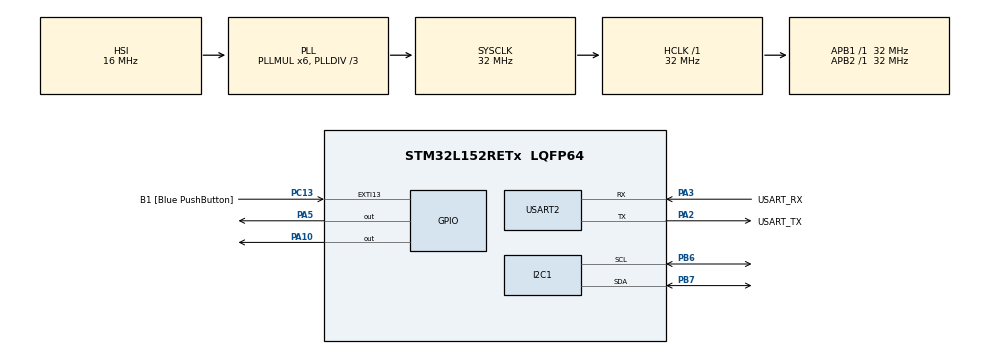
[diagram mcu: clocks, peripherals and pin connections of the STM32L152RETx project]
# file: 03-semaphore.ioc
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Mcu.Family=STM32L1
RCC.MSI_VALUE=2097000
PC15-OSC32_OUT.Mode=LSE-External-Oscillator
PH0-OSC_IN.Signal=RCC_OSC_IN
PA14.GPIO_Label=TCK
PC14-OSC32_IN.Signal=RCC_OSC32_IN
RCC.SYSCLKSource=RCC_SYSCLKSOURCE_PLLCLK
ProjectManager.StackSize=0x400
PA13.Signal=SYS_JTMS-SWDIO
PA3.Mode=Asynchronous
RCC.PLLDIV=RCC_PLL_DIV3
ProjectManager.TargetToolchain=Other Toolchains (GPDSC)
PA10.PinState=GPIO_PIN_SET
RCC.HCLKFreq_Value=32000000
PC13-WKUP2.GPIO_Label=B1 [Blue PushButton]
RCC.APB2TimFreq_Value=32000000
PB6.Signal=I2C1_SCL
PB6.Mode=I2C
PC15-OSC32_OUT.Signal=RCC_OSC32_OUT
RCC.AHBFreq_Value=32000000
PH0-OSC_IN.Mode=HSE-External-Clock-Source
PA5.Signal=GPIO_Output
RCC.HSE_VALUE=8000000
PC13-WKUP2.Signal=GPXTI13
board=NUCLEO-L152RE
RCC.VCOOutputFreq_Value=96000000
RCC.PLLMUL=RCC_PLL_MUL6
RCC.APB2Freq_Value=32000000
PC14-OSC32_IN.Mode=LSE-External-Oscillator
RCC.RTCClockSelectionVirtual=RCC_RTCCLKSOURCE_LSE
PA14.Mode=Serial_Wire
PH1-OSC_OUT.Signal=RCC_OSC_OUT
PB7.Signal=I2C1_SDA
PA13.Mode=Serial_Wire
Mcu.Name=STM32L152RETx
PA2.Signal=USART2_TX
PA13.GPIO_Label=TMS
RCC.48MHZClocksFreq_Value=48000000
PB3.Signal=SYS_JTDO-TRACESWO
RCC.SYSCLKFreq_VALUE=32000000
Mcu.Package=LQFP64
USART2.VirtualMode=VM_ASYNC
RCC.USBOutput=48000000
PA2.GPIO_Label=USART_TX
PB7.Mode=I2C
PA10.Signal=GPIO_Output
PA14.Signal=SYS_JTCK-SWCLK
ProjectManager.HeapSize=0x200
RCC.HSI_VALUE=16000000
NVIC.PriorityGroup=NVIC_PRIORITYGROUP_0
RCC.APB1TimFreq_Value=32000000
PA2.Mode=Asynchronous
RCC.APB1Freq_Value=32000000
PA3.GPIO_Label=USART_RX
PA3.Signal=USART2_RX
PB3.GPIO_Label=SWO

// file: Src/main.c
/* USER CODE BEGIN Header */
/**
  ******************************************************************************
  * @file           : main.c
  * @brief          : Main program body
  ******************************************************************************
  * @attention
  *
  * <h2><center>&copy; Copyright (c) 2021 STMicroelectronics.
  * All rights reserved.</center></h2>
  *
  * This software component is licensed by ST under BSD 3-Clause license,
  * the "License"; You may not use this file except in compliance with the
  * License. You may obtain a copy of the License at:
  *                        opensource.org/licenses/BSD-3-Clause
  *
  ******************************************************************************
  */
/* USER CODE END Header */
#include "main.h"

/* USER CODE BEGIN PD */
/* Task Stack Size */
#define APP_TASK_START_STK_SIZE 128u
#define READ_DATA_TASK_STK_SIZE 128u
#define DISPLAY_DATA_TASK_STK_SIZE 256u
#define BLINK_TASK_STK_SIZE 128u
/* Task Priority */
#define APP_TASK_START_PRIO 1u
#define READ_DATA_TASK_PRIO 2u
#define DISPLAY_DATA_TASK_PRIO 3u
#define BLINK_TASK_PRIO 4u
/* USER CODE END PD */

/* USER CODE BEGIN PV */
/* Task Control Block */
static OS_TCB AppTaskStartTCB;
static OS_TCB ReadDataTaskTCB;
static OS_TCB DisplayDataTaskTCB;
static OS_TCB BlinkTaskTCB;
/* Task Stack */
static CPU_STK AppTaskStartStk[APP_TASK_START_STK_SIZE];
static CPU_STK ReadDataTaskStk[READ_DATA_TASK_STK_SIZE];
static CPU_STK DisplayDataTaskStk[DISPLAY_DATA_TASK_STK_SIZE];
static CPU_STK BlinkTaskStk[BLINK_TASK_STK_SIZE];
/* Semaphore */
OS_SEM sem;

/* USER CODE END PV */

void SystemClock_Config(void);
/* USER CODE BEGIN PFP */
static void AppTaskStart(void *p_arg);
static void ReadDataTask(void *p_arg);
static void DisplayDataTask(void *p_arg);
static void BlinkTask(void *p_arg);
/* USER CODE END PFP */

/* USER CODE BEGIN 0 */
int main(void)
{
  /* To store error code */
  OS_ERR os_err;

  /* Initialize uC/OS-III */
  OSInit(&os_err);

  if (os_err != OS_ERR_NONE)
  {
    while (DEF_TRUE)
      ;
  }

  OSSemCreate(
      (OS_SEM *)&sem,
      (CPU_CHAR *)"Semaphore",
      (OS_SEM_CTR)0,
      (OS_ERR *)&os_err);

  OSTaskCreate(
      /* pointer to task control block */
      (OS_TCB *)&AppTaskStartTCB,
      /* task name can be displayed by debuggers */
      (CPU_CHAR *)"App Task Start",
      /* pointer to the task */
      (OS_TASK_PTR)AppTaskStart,
      /* pointer to an OPTIONAL data area */
      (void *)0,
      /* task priority: the lower the number, the higher the priority */
      (OS_PRIO)APP_TASK_START_PRIO,
      /* pointer to task's stack base addr */
      (CPU_STK *)&AppTaskStartStk[0],
      /* task's stack limit to monitor and ensure that the stack
       * doesn't overflow (10%) */
      (CPU_STK_SIZE)APP_TASK_START_STK_SIZE / 10,
      /* task's stack size */
      (CPU_STK_SIZE)APP_TASK_START_STK_SIZE,
      /* max number of message that the task can receive through
       * internal message queue (5) */
      (OS_MSG_QTY)5u,
      /* amount of clock ticks for the time quanta
       * when round robin is enabled */
      (OS_TICK)0u,
      /* pointer to an OPTIONAL user-supplied memory location
       * use as a TCB extension */
      (void *)0,
      /* contain task-specific option
       * OS_OPT_TASK_STK_CHK: allow stack checking
       * OS_OPT_TASK_STK_CLR: stack needs to be cleared */
      (OS_OPT)(OS_OPT_TASK_STK_CHK | OS_OPT_TASK_STK_CLR),
      /* pointer to a variable that will receive an error code */
      (OS_ERR *)&os_err);

  if (os_err != OS_ERR_NONE)
  {
    while (DEF_TRUE)
      ;
  }

  /* Start Mulitasking */
  OSStart(&os_err);
}
/* USER CODE END 0 */

void SystemClock_Config(void)
{
  RCC_OscInitTypeDef RCC_OscInitStruct = {0};
  RCC_ClkInitTypeDef RCC_ClkInitStruct = {0};

  /** Configure the main internal regulator output voltage
  */
  __HAL_PWR_VOLTAGESCALING_CONFIG(PWR_REGULATOR_VOLTAGE_SCALE1);
  /** Initializes the RCC Oscillators according to the specified parameters
  * in the RCC_OscInitTypeDef structure.
  */
  RCC_OscInitStruct.OscillatorType = RCC_OSCILLATORTYPE_HSI;
  RCC_OscInitStruct.HSIState = RCC_HSI_ON;
  RCC_OscInitStruct.HSICalibrationValue = RCC_HSICALIBRATION_DEFAULT;
  RCC_OscInitStruct.PLL.PLLState = RCC_PLL_ON;
  RCC_OscInitStruct.PLL.PLLSource = RCC_PLLSOURCE_HSI;
  RCC_OscInitStruct.PLL.PLLMUL = RCC_PLL_MUL6;
  RCC_OscInitStruct.PLL.PLLDIV = RCC_PLL_DIV3;
  if (HAL_RCC_OscConfig(&RCC_OscInitStruct) != HAL_OK)
  {
    Error_Handler();
  }
  /** Initializes the CPU, AHB and APB buses clocks
  */
  RCC_ClkInitStruct.ClockType = RCC_CLOCKTYPE_HCLK | RCC_CLOCKTYPE_SYSCLK | RCC_CLOCKTYPE_PCLK1 | RCC_CLOCKTYPE_PCLK2;
  RCC_ClkInitStruct.SYSCLKSource = RCC_SYSCLKSOURCE_PLLCLK;
  RCC_ClkInitStruct.AHBCLKDivider = RCC_SYSCLK_DIV1;
  RCC_ClkInitStruct.APB1CLKDivider = RCC_HCLK_DIV1;
  RCC_ClkInitStruct.APB2CLKDivider = RCC_HCLK_DIV1;

  if (HAL_RCC_ClockConfig(&RCC_ClkInitStruct, FLASH_LATENCY_1) != HAL_OK)
  {
    Error_Handler();
  }
}

/* USER CODE BEGIN 4 */
static void AppTaskStart(void *p_arg)
{
  OS_ERR os_err;

  HAL_Init();
  SystemClock_Config();
  MX_GPIO_Init();
  MX_USART2_UART_Init();
  MX_I2C1_Init();

  OSTaskCreate(
      (OS_TCB *)&BlinkTaskTCB,
      (CPU_CHAR *)"Blink Task",
      (OS_TASK_PTR)BlinkTask,
      (void *)0,
      (OS_PRIO)BLINK_TASK_PRIO,
      (CPU_STK *)&BlinkTaskStk[0],
      (CPU_STK_SIZE)BLINK_TASK_STK_SIZE / 10,
      (CPU_STK_SIZE)BLINK_TASK_STK_SIZE,
      (OS_MSG_QTY)5u,
      (OS_TICK)0u,
      (void *)0,
      (OS_OPT)(OS_OPT_TASK_STK_CHK | OS_OPT_TASK_STK_CLR),
      (OS_ERR *)&os_err);

  OSTaskCreate(
      (OS_TCB *)&ReadDataTaskTCB,
      (CPU_CHAR *)"Read Data Task",
      (OS_TASK_PTR)ReadDataTask,
      (void *)0,
      (OS_PRIO)READ_DATA_TASK_PRIO,
      (CPU_STK *)&ReadDataTaskStk[0],
      (CPU_STK_SIZE)READ_DATA_TASK_STK_SIZE / 10,
      (CPU_STK_SIZE)READ_DATA_TASK_STK_SIZE,
      (OS_MSG_QTY)5u,
      (OS_TICK)0u,
      (void *)0,
      (OS_OPT)(OS_OPT_TASK_STK_CHK | OS_OPT_TASK_STK_CLR),
      (OS_ERR *)&os_err);

  OSTaskCreate(
      (OS_TCB *)&DisplayDataTaskTCB,
      (CPU_CHAR *)"Display Data Task",
      (OS_TASK_PTR)DisplayDataTask,
      (void *)0,
      (OS_PRIO)DISPLAY_DATA_TASK_PRIO,
      (CPU_STK *)&DisplayDataTaskStk[0],
      (CPU_STK_SIZE)DISPLAY_DATA_TASK_STK_SIZE / 10,
      (CPU_STK_SIZE)DISPLAY_DATA_TASK_STK_SIZE,
      (OS_MSG_QTY)5u,
      (OS_TICK)0u,
      (void *)0,
      (OS_OPT)(OS_OPT_TASK_STK_CHK | OS_OPT_TASK_STK_CLR),
      (OS_ERR *)&os_err);
}

static void ReadDataTask(void *p_arg)
{

  OS_ERR os_err;
  BMP280_Setup();
  unsigned char MSG[] = "\rRead Data Task \n\r";
  while (DEF_TRUE)
  {
    HAL_UART_Transmit(&huart2, MSG, sizeof(MSG), 100);
    BMP280_Read();
    OSSemPost(
        (OS_SEM *)&sem,
        (OS_OPT)OS_OPT_POST_1,
        (OS_ERR *)&os_err);
    OSTimeDlyHMSM(0, 0, 1, 0, OS_OPT_TIME_HMSM_STRICT, &os_err);
  }
}

static void DisplayDataTask(void *p_arg)
{
  OS_ERR os_err;
  unsigned char MSG[] = "\rDisplay Data Task \n\r";

  while (DEF_TRUE)
  {

    OSSemPend(
        (OS_SEM *)&sem,
        (OS_TICK)0,
        (OS_OPT)OS_OPT_PEND_BLOCKING,
        (CPU_TS *)NULL,
        (OS_ERR *)&os_err);

    HAL_UART_Transmit(&huart2, MSG, sizeof(MSG), 100);
    BMP280_Print(&huart2);
    OSTimeDlyHMSM(0, 0, 1, 0, OS_OPT_TIME_HMSM_STRICT, &os_err);
  }
}

static void BlinkTask(void *p_arg)
{
  OS_ERR os_err;
  unsigned char MSG[] = "\rBlink Task \n\r";
  while (DEF_TRUE)
  {
    HAL_UART_Transmit(&huart2, MSG, sizeof(MSG), 100);
    HAL_GPIO_TogglePin(GPIOA, GPIO_PIN_5);
    OSTimeDlyHMSM(0, 0, 1, 0, OS_OPT_TIME_HMSM_STRICT, &os_err);
  }
}
/* USER CODE END 4 */

void Error_Handler(void)
{
  __disable_irq();
  while (1)
  {
  }
}

/************************ (C) COPYRIGHT STMicroelectronics *****END OF FILE****/
